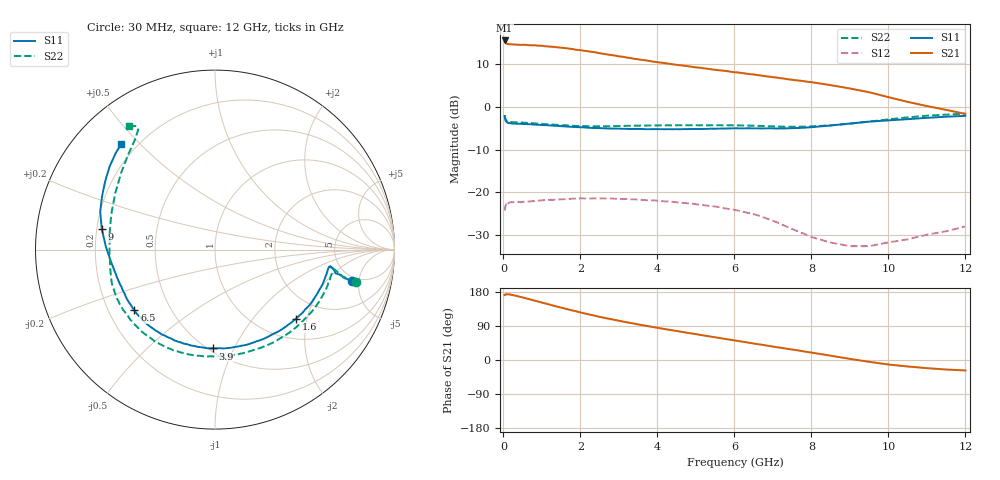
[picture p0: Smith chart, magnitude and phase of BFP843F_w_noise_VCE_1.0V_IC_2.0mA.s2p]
! Infineon Technologies  Discrete & RF Semiconductors
! BFP843F
! VCE =  1.0 V,  IC =  2.0 mA
! Common Emitter S-Parameters:  Aug 2013
# GHz  S  MA  R  50
!  f  S11  S21  S12  S22
! GHz  MAG  ANG  MAG  ANG  MAG  ANG  MAG  ANG
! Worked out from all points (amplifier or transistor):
!   103 points, 30 MHz to 12 GHz, reference 50 ohm
!   highest |S21| = 15.6 dB at 30 MHz (marker M1)
!   |S21| within 3 dB of that: start of sweep to 2.498 GHz
!   unconditionally stable (mu >= 1): 148.8 MHz to 584.3 MHz; 4.814 GHz to end of sweep
!   at 400 MHz: K = 1.01, MAG = 17.8 dB, |S12| = -22.3 dB
!   at 3.7 GHz: K = 0.91, MSG = 16.4 dB, |S12| = -21.8 dB
!   at 12 GHz: K = 1.87, MAG = 7.8 dB, |S12| = -28.0 dB
!   lowest NFmin = 1.09 dB at 450 MHz
!   S11 on the Smith chart (normalised r, x): 30 MHz: 4.49, -3.99; 1.6 GHz: 1.44, -1.71; 3.9 GHz: 0.52, -0.83; 6.5 GHz: 0.31, -0.30; 9 GHz: 0.22, +0.08; 12 GHz: 0.14, +0.44
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0.03  0.7809 -12.8  6.034 171.1  0.061 38.3  0.8048 -12.9
0.04  0.7346 -12.4  5.844 171.1  0.0652 29.6  0.7586 -12.5
0.05  0.7155 -11.4  5.682 172.9  0.0695 28.8  0.7343 -11.9
0.07  0.6781 -10.3  5.556 173.3  0.0727 21.8  0.7064 -10.6
0.15  0.6486 -8.5  5.452 173.3  0.076 8.6  0.67 -9.7
0.8  0.6229 -21.2  5.296 156.9  0.0791 0.8  0.6449 -29.5
1.3  0.6035 -33.3  5.081 143.3  0.0818 -1.5  0.6219 -47.2
1.6  0.5925 -40.6  4.91 135.6  0.0831 -3.6  0.6113 -57.6
2.1  0.5767 -52.4  4.562 123.1  0.0849 -7.7  0.5981 -74.7
2.4  0.5681 -59.2  4.37 116.2  0.085 -10.7  0.5952 -84.1
3  0.5584 -72.3  3.925 103.6  0.0842 -15.4  0.5994 -99.9
3.9  0.5508 -91.4  3.402 86.8  0.0807 -22.8  0.6085 -118.3
4.1  0.5502 -95.7  3.313 83.3  0.0793 -24.4  0.6095 -121.8
5.1  0.5522 -116.4  2.894 66.5  0.0715 -33.0  0.6107 -138.8
6.1  0.5631 -135.5  2.539 50.1  0.0611 -41.6  0.6096 -155.1
6.5  0.5618 -143.1  2.409 43.5  0.0555 -45.4  0.6048 -161.5
7.7  0.5692 -166.2  2.039 24.4  0.034 -45.0  0.5886 178.1
8.5  0.6078 178.6  1.806 11.3  0.0258 -30.7  0.6101 161.4
9  0.6406 169.8  1.65 3.0  0.0234 -19.1  0.6384 150.6
10  0.6976 154.2  1.307 -11.9  0.0259 7.0  0.7171 132.4
10.5  0.7205 148.1  1.15 -17.1  0.0281 15.6  0.7566 126.2
12  0.7882 131.5  0.831 -27.6  0.0398 27.1  0.8382 124.8
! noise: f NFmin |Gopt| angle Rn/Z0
0.45  1.09  0.34  11  0.15
0.9  1.1  0.34  19  0.16
1.5  1.21  0.33  27  0.17
1.9  1.28  0.31  40  0.17
2.4  1.33  0.31  50  0.18
3.5  1.43  0.32  76  0.23
5.5  1.57  0.28  126  0.33
10  2.71  0.48  -138  0.45
